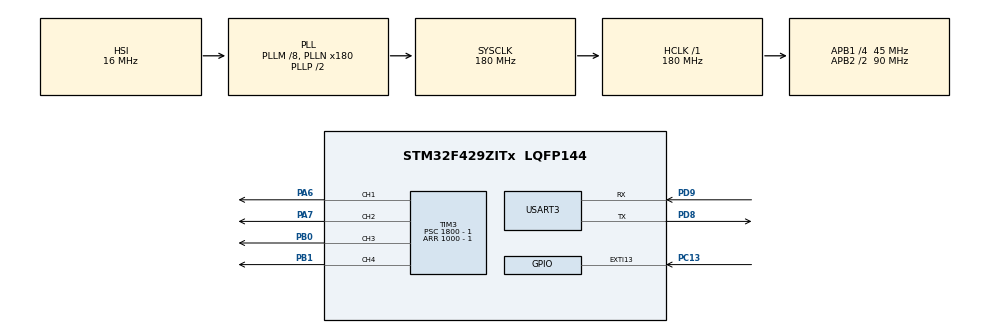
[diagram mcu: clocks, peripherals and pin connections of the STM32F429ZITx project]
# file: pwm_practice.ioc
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Mcu.Family=STM32F4
Mcu.Name=STM32F429ZITx
Mcu.Package=LQFP144
NVIC.PriorityGroup=NVIC_PRIORITYGROUP_4
NVIC.USART3_IRQn=true\:0\:0\:false\:true\:true\:1\:true\:true\:true
PA13.Mode=Serial_Wire
PA13.Signal=SYS_JTMS-SWDIO
PA14.Mode=Serial_Wire
PA14.Signal=SYS_JTCK-SWCLK
PA6.Signal=S_TIM3_CH1
PA7.Signal=S_TIM3_CH2
PB0.Signal=S_TIM3_CH3
PB1.Signal=S_TIM3_CH4
PC13.Signal=GPXTI13
PC14/OSC32_IN.Mode=LSE-External-Oscillator
PC14/OSC32_IN.Signal=RCC_OSC32_IN
PC15/OSC32_OUT.Mode=LSE-External-Oscillator
PC15/OSC32_OUT.Signal=RCC_OSC32_OUT
PD8.Mode=Asynchronous
PD8.Signal=USART3_TX
PD9.Mode=Asynchronous
PD9.Signal=USART3_RX
ProjectManager.HeapSize=0x200
ProjectManager.StackSize=0x400
ProjectManager.TargetToolchain=STM32CubeIDE
RCC.48MHZClocksFreq_Value=90000000
RCC.AHBFreq_Value=180000000
RCC.APB1CLKDivider=RCC_HCLK_DIV4
RCC.APB1Freq_Value=45000000
RCC.APB1TimFreq_Value=90000000
RCC.APB2CLKDivider=RCC_HCLK_DIV2
RCC.APB2Freq_Value=90000000
RCC.APB2TimFreq_Value=180000000
RCC.CortexFreq_Value=180000000
RCC.HCLKFreq_Value=180000000
RCC.HSE_VALUE=25000000
RCC.HSI_VALUE=16000000
RCC.PLLM=8
RCC.PLLN=180
RCC.RCC_RTC_Clock_Source=RCC_RTCCLKSOURCE_LSE
RCC.RCC_RTC_Clock_SourceVirtual=RCC_RTCCLKSOURCE_LSE
RCC.SYSCLKFreq_VALUE=180000000
RCC.SYSCLKSource=RCC_SYSCLKSOURCE_PLLCLK
RCC.VCOOutputFreq_Value=360000000
SH.S_TIM3_CH1.0=TIM3_CH1,PWM Generation1 CH1
SH.S_TIM3_CH2.0=TIM3_CH2,PWM Generation2 CH2
SH.S_TIM3_CH3.0=TIM3_CH3,PWM Generation3 CH3
SH.S_TIM3_CH4.0=TIM3_CH4,PWM Generation4 CH4
TIM3.Channel-PWM\ Generation1\ CH1=TIM_CHANNEL_1
TIM3.Channel-PWM\ Generation2\ CH2=TIM_CHANNEL_2
TIM3.Channel-PWM\ Generation3\ CH3=TIM_CHANNEL_3
TIM3.Channel-PWM\ Generation4\ CH4=TIM_CHANNEL_4
TIM3.CounterMode=TIM_COUNTERMODE_DOWN
TIM3.Period=1000 - 1
TIM3.Prescaler=1800 - 1
TIM3.Pulse-PWM\ Generation1\ CH1=750-1
TIM3.Pulse-PWM\ Generation2\ CH2=750-1
TIM3.Pulse-PWM\ Generation3\ CH3=375-1
TIM3.Pulse-PWM\ Generation4\ CH4=750-1
USART3.VirtualMode=VM_ASYNC
VP_RTC_VS_RTC_Activate.Mode=RTC_Enabled
VP_TIM3_VS_ClockSourceINT.Mode=Internal
board=custom

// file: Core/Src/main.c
/* USER CODE BEGIN Header */
/**
 ******************************************************************************
 * @file           : main.c
 * @brief          : Main program body
 ******************************************************************************
 * @attention
 *
 * Copyright (c) 2022 STMicroelectronics.
 * All rights reserved.
 *
 * This software is licensed under terms that can be found in the LICENSE file
 * in the root directory of this software component.
 * If no LICENSE file comes with this software, it is provided AS-IS.
 *
 ******************************************************************************
 */
/* USER CODE END Header */
#include "main.h"
#include "rtc.h"
#include "tim.h"
#include "usart.h"
#include "gpio.h"

/* USER CODE BEGIN Includes */
#include <string.h>
#include <stdlib.h>
/* USER CODE END Includes */

/* USER CODE BEGIN PTD */
typedef enum {

	UP = 1,
	DOWN = 0,
} _STROKE;

/* USER CODE END PTD */

/* USER CODE BEGIN PV */

// count 1ms interrupt

//=============syscallback value==================
volatile uint32_t count_systick;
volatile uint32_t count_systick_auto;
volatile uint8_t count_systick_1ms;
volatile uint8_t count_systick_2ms;
volatile uint8_t count_systick_5ms;
volatile uint8_t count_systick_10ms;
volatile uint8_t count_systick_100ms;
volatile uint8_t count_systick_1000ms;

//=============syscallback value==================

//=============uart value===========================
uint8_t rx;
uint8_t buf[10], buf_index = 0;
uint8_t buf_temp[10];
//=============uart value===========================

//=============== setting value =====================
volatile uint8_t flag_default_setting;
volatile uint8_t flag_up_apply;
volatile uint8_t flag_down_apply;
volatile uint8_t flag_set_handle;
volatile uint8_t flag_swing_handle;
volatile uint8_t flag_peak_handle;
//=============== setting value =====================

//============== auto_swing value ========================
volatile uint8_t flag_swing_mode;
volatile uint8_t flag_swing_auto;
uint32_t count_swing_trig;
uint32_t count_practice;
//============== auto_swing value ========================

//================swing value===============================
int num_set_up_yes = 104;
int num_set_up_no = 108;
int num_swing_up = 120;
int num_peak_up = 100;

int num_set_down_yes = 105;
int num_set_down_no = 108;
int num_swing_down = 120-32;
int num_peak_down = 100-30;

int num_set = 108;
int num_swing = 120;
int num_peak = 87;
//================swing value===============================

uint8_t swing_practice[10] = {1,4};
uint16_t swing_practice_time[10] = {500};

/* USER CODE END PV */

void SystemClock_Config(void);
static void MX_NVIC_Init(void);

/* USER CODE BEGIN 0 */
int __io_putchar(int ch) {
	HAL_UART_Transmit(&huart3, &ch, 1, 100);
	return ch;
}
/* USER CODE END 0 */

/**
  * @brief  The application entr+y point.
  * @retval int
  */
int main(void)
{

  /* MCU Configuration--------------------------------------------------------*/

  /* Reset of all peripherals, Initializes the Flash interface and the Systick. */

	HAL_Init();

  /* Configure the system clock */
  SystemClock_Config();

  /* Initialize all configured peripherals */
  MX_GPIO_Init();
  MX_RTC_Init();
  MX_TIM3_Init();
  MX_USART3_UART_Init();

  /* Initialize interrupts */
  MX_NVIC_Init();
  /* USER CODE BEGIN 2 */
	HAL_TIM_PWM_Start(&htim3, TIM_CHANNEL_1);
	HAL_TIM_PWM_Start(&htim3, TIM_CHANNEL_3);
	HAL_TIM_PWM_Start(&htim3, TIM_CHANNEL_4);
	HAL_UART_Receive_IT(&huart3, &rx, 1);
	TIM3->CCR3 = num_set;
	TIM3->CCR4 = num_swing;
	TIM3->CCR1 = num_peak;
  /* USER CODE END 2 */

  /* Infinite loop */
  /* USER CODE BEGIN WHILE */

	while (1) {

		// ========================================Setting mode===========================
		// set the default setting
		if (flag_default_setting == 1) {
			printf("\r\n세팅모드에 진입합니다.\r\n");
			printf("COMMAND\r\n");
			printf("1.NOT STROKE SETTING : 'O', 'P'\r\n");
			printf("2.YES STROKE SETTING : 'K', 'L'\r\n");
			printf("3.(HANDLE) BODY POS: 'W', 'S'\r\n");
			printf("4.(HANDLE) SWING POS: 'A', 'D'\r\n");
			printf("5.(HANDLE) PEAK POS: 'Q', 'E'\r\n");
			printf("5.END SETTING: 'X'\r\n");
			flag_default_setting = 2;
		}
		while (flag_default_setting == 2) {

			//no stroke setting
			if (flag_up_apply == 1) {
				num_set_up_no = num_set;
				num_swing_up = num_swing;
				num_peak_up = num_peak;
				printf("\r\n");
				printf("num_set_up_no : %d\r\n", num_set_up_no);
				printf("num_swing_up : %d\r\n", num_swing_up);
				printf("num_peak_up : %d\r\n", num_peak_up);
				flag_up_apply = 0;
			}
			if (flag_down_apply == 1) {
				if (num_set_down_no   == num_set_up_no   &&
					num_swing_down == num_swing_up &&
					num_peak_down  == num_peak_up) {

					num_set_down_no = 108;
					num_swing_down = 120 - 32;
					num_peak_down = 100 - 30;

				}
				else {
					num_set_down_no = num_set;
					num_swing_down = num_swing;
					num_peak_down = num_peak;
				}

				printf("\r\n");
				printf("num_set_down : %d\r\n", num_set_down_no);
				printf("num_swing_down : %d\r\n", num_swing_down);
				printf("num_peak_down : %d\r\n", num_peak_down);
				flag_down_apply = 0;
			}

			// yes stroke setting
			if (flag_up_apply == 2) {
				num_set_up_yes = num_set;
				printf("\r\n");
				printf("num_set_up_yes : %d\r\n", num_set_up_yes);
				flag_up_apply = 0;
			}
			if (flag_down_apply == 2) {
				num_set_down_yes = num_set;
				printf("\r\n");
				printf("num_set_down_yes : %d\r\n", num_set_down_yes);
				flag_down_apply = 0;
			}

				// set up & down
				if (flag_set_handle == 1) {
					num_set++;
					flag_set_handle = 0;
					printf("num_set : %d\r\n", num_set);
				} else if (flag_set_handle == 2) {
					num_set--;
					flag_set_handle = 0;
					printf("num_set : %d\r\n", num_set);
				}

				// swing up & down
				if (flag_swing_handle == 1) {
					num_swing++;
					flag_swing_handle = 0;
					printf("num_swing : %d\r\n", num_swing);
				} else if (flag_swing_handle == 2) {
					num_swing--;
					flag_swing_handle = 0;
					printf("num_swing : %d\r\n", num_swing);
				}

				// peak up & down
				if (flag_peak_handle == 1) {
					num_peak++;
					flag_peak_handle = 0;
					printf("num_peak : %d\r\n", num_peak);
				} else if (flag_peak_handle == 2) {
					num_peak--;
					flag_peak_handle = 0;
					printf("num_peak : %d\r\n", num_peak);
				}

			// user can see immediately the status of the machine
			if (count_systick_100ms == 1) {
				TIM3->CCR3 = num_set;
				TIM3->CCR4 = num_swing;
				TIM3->CCR1 = num_peak;
				count_systick_100ms = 0;
			}

			if (flag_default_setting == 0) {
				printf("\r\n세팅모드를 종료합니다.\r\n");
			}
		}
		// ========================================Setting mode===========================

		// ========================================Swing mode===========================
		// this struct is maded for user can know the swing mode begin
		// 'num_swing' control everything in this Algorithm
		if (flag_swing_mode == 1) {
			flag_swing_mode = 2;
			printf("\r\n스윙모드에 진입합니다.\r\n");
			printf("COMMAND\r\n");
			printf("1.YES SWING  : '0', '1'\r\n");
			printf("2.NOT SWING  : '2', '3'\r\n");
			printf("5.END SWING: 'X'\r\n");

			num_swing = num_swing_up;
			TIM3->CCR4 = num_swing;
			TIM3->CCR3 = num_set;
			TIM3->CCR1 = num_peak;
		}

		while (flag_swing_mode == 2) {

			// Read the set and peak pos and automatically change the pos by swing pos
			if (flag_swing_auto == 0) {
				if (num_swing >= num_swing_up) {
					TIM3->CCR3 = num_set_up_no;
					TIM3->CCR1 = num_peak_up;
				} else if (num_swing <= num_swing_down) {
					TIM3->CCR3 = num_set_down_no;
					TIM3->CCR1 = num_peak_down;
				}
			}
			// read swing ary----------------------------------------------------------------
			flag_swing_auto = swing_practice[count_swing_trig];

			if (swing_practice_time[0] == count_practice) {
				if (count_swing_trig == 0) {
					count_swing_trig = 1;
				}
				else {
					count_swing_trig = 0;
				}

			}

			if (swing_practice_time[0] <= count_practice) {
				count_practice = 0;
			}
			// read swing ary----------------------------------------------------------------

			// do swing
			// YES down swing(up -> down)
			if (flag_swing_auto == 1) {
				TIM3->CCR3 = num_set_up_yes;

				if (count_systick_auto % 1000 > 125) {
					if (count_systick_2ms == 1 && num_swing > num_swing_down) {

						num_swing--;
						TIM3->CCR4 = num_swing;
						count_systick_2ms = 0;
					}
				}

				if (count_systick_auto % 1000 > 250) {
					flag_swing_auto = 0;
					count_systick_auto = 0;
				}
			}

			// YES up swing (down -> up)
			else if (flag_swing_auto == 2) {
				TIM3->CCR3 = num_set_down_yes;

				if (count_systick_auto % 1000 > 125) {
					if (count_systick_2ms == 1 && num_swing < num_swing_up) {

						num_swing++;
						TIM3->CCR4 = num_swing;
						count_systick_2ms = 0;
					}
				}

				if (count_systick_auto % 1000 > 250) {
					flag_swing_auto = 0;
					count_systick_auto = 0;
				}
			}

			// NO down swing(up -> down)
			if (flag_swing_auto == 3) {
				TIM3->CCR3 = num_set_up_no;
				if (count_systick_auto % 1000 > 125) {
					if (count_systick_2ms == 1 && num_swing > num_swing_down) {

						num_swing--;
						TIM3->CCR4 = num_swing;
						count_systick_2ms = 0;
					}
				}
				if (count_systick_auto % 1000 > 250) {
					flag_swing_auto = 0;
					count_systick_auto = 0;
				}
			}

			// NO up swing (down -> up)
			else if (flag_swing_auto == 4) {
				TIM3->CCR3 = num_set_down_no;
				if (count_systick_auto % 1000 > 125) {
					if (count_systick_2ms == 1 && num_swing < num_swing_up) {

						num_swing++;
						TIM3->CCR4 = num_swing;
						count_systick_2ms = 0;
					}
				}
				if (count_systick_auto % 1000 > 250) {
					flag_swing_auto = 0;
					count_systick_auto = 0;
				}
			}

			if (flag_swing_mode == 0) {
				printf("\r\n스윙모드를 종료합니다.\r\n");
			}
		}
		// ========================================Swing mode===========================

	}
    /* USER CODE END WHILE */

    /* USER CODE BEGIN 3 */
	num_set_up_no = 108;
	num_swing_up = 120;
	num_peak_up = 87;

	TIM3->CCR3 = num_set_up_no;
	TIM3->CCR4 = num_swing_up;
	TIM3->CCR1 = num_peak_up;
  /* USER CODE END 3 */
}

void SystemClock_Config(void)
{
  RCC_OscInitTypeDef RCC_OscInitStruct = {0};
  RCC_ClkInitTypeDef RCC_ClkInitStruct = {0};

  /** Configure the main internal regulator output voltage
  */
  __HAL_RCC_PWR_CLK_ENABLE();
  __HAL_PWR_VOLTAGESCALING_CONFIG(PWR_REGULATOR_VOLTAGE_SCALE1);

  /** Initializes the RCC Oscillators according to the specified parameters
  * in the RCC_OscInitTypeDef structure.
  */
  RCC_OscInitStruct.OscillatorType = RCC_OSCILLATORTYPE_HSI|RCC_OSCILLATORTYPE_LSE;
  RCC_OscInitStruct.LSEState = RCC_LSE_ON;
  RCC_OscInitStruct.HSIState = RCC_HSI_ON;
  RCC_OscInitStruct.HSICalibrationValue = RCC_HSICALIBRATION_DEFAULT;
  RCC_OscInitStruct.PLL.PLLState = RCC_PLL_ON;
  RCC_OscInitStruct.PLL.PLLSource = RCC_PLLSOURCE_HSI;
  RCC_OscInitStruct.PLL.PLLM = 8;
  RCC_OscInitStruct.PLL.PLLN = 180;
  RCC_OscInitStruct.PLL.PLLP = RCC_PLLP_DIV2;
  RCC_OscInitStruct.PLL.PLLQ = 4;
  if (HAL_RCC_OscConfig(&RCC_OscInitStruct) != HAL_OK)
  {
    Error_Handler();
  }

  /** Activate the Over-Drive mode
  */
  if (HAL_PWREx_EnableOverDrive() != HAL_OK)
  {
    Error_Handler();
  }

  /** Initializes the CPU, AHB and APB buses clocks
  */
  RCC_ClkInitStruct.ClockType = RCC_CLOCKTYPE_HCLK|RCC_CLOCKTYPE_SYSCLK
                              |RCC_CLOCKTYPE_PCLK1|RCC_CLOCKTYPE_PCLK2;
  RCC_ClkInitStruct.SYSCLKSource = RCC_SYSCLKSOURCE_PLLCLK;
  RCC_ClkInitStruct.AHBCLKDivider = RCC_SYSCLK_DIV1;
  RCC_ClkInitStruct.APB1CLKDivider = RCC_HCLK_DIV4;
  RCC_ClkInitStruct.APB2CLKDivider = RCC_HCLK_DIV2;

  if (HAL_RCC_ClockConfig(&RCC_ClkInitStruct, FLASH_LATENCY_5) != HAL_OK)
  {
    Error_Handler();
  }
}

/**
  * @brief NVIC Configuration.
  * @retval None
  */
static void MX_NVIC_Init(void)
{
  /* USART3_IRQn interrupt configuration */
  HAL_NVIC_SetPriority(USART3_IRQn, 0, 0);
  HAL_NVIC_EnableIRQ(USART3_IRQn);
}

/* USER CODE BEGIN 4 */
void HAL_UART_RxCpltCallback(UART_HandleTypeDef *huart)
{
	if(huart -> Instance == USART3) {
		HAL_UART_Transmit(&huart3, &rx, 1, 100);

		if (rx == '\n') {
			buf[buf_index] = 0;
			if (buf[0] == '`') {
				flag_default_setting = 1;
			}
			if (buf[0] == '~') {
				flag_swing_mode = 1;
			}

			if (flag_default_setting == 2) {
				/*
				volatile uint8_t flag_up_apply;
				volatile uint8_t flag_down_apply;
				volatile uint8_t flag_set_handle;
				volatile uint8_t flag_swing_handle;
				volatile uint8_t flag_peak_handle;
				*/

				//no setting
				if (buf[0] == 'o' || buf[0] == 'O') {
					flag_up_apply = 1;
				}
				if (buf[0] == 'p' || buf[0] == 'P') {
					flag_down_apply = 1;
				}

				//yes setting
				if (buf[0] == 'k' || buf[0] == 'K') {
					flag_up_apply = 2;
				}
				if (buf[0] == 'l' || buf[0] == 'l') {
					flag_down_apply = 2;
				}

				// set pos
				if (buf[0] == 'w' || buf[0] == 'W') {
					flag_set_handle = 1;
				}
				if (buf[0] == 's' || buf[0] == 'S') {
					flag_set_handle = 2;
				}

				// swing pos
				if (buf[0] == 'a' || buf[0] == 'A') {
					flag_swing_handle = 1;
				}
				if (buf[0] == 'd' || buf[0] == 'D') {
					flag_swing_handle = 2;
				}

				//peak pos
				if (buf[0] == 'q' || buf[0] == 'Q') {
					flag_peak_handle = 1;
				}
				if (buf[0] == 'e' || buf[0] == 'E') {
					flag_peak_handle = 2;
				}

				// end setting
				if (buf[0] == 'x' || buf[0] == 'X') {
					flag_default_setting = 0;
				}
			}

			//swing handle
			if (flag_swing_mode == 2) {

				// yes swing
				if (buf[0] == '0') {
					flag_swing_auto = 1;
				}
				if (buf[0] == '1') {
					flag_swing_auto = 2;
				}

				// no swing
				if (buf[0] == '2') {
					flag_swing_auto = 3;
				}
				if (buf[0] == '3') {
					flag_swing_auto = 4;
				}

				// start auto stroke swing ary
				if (buf[0] == '4') {
					flag_swing_auto = 5;
				}

				//end swing handle
				if (buf[0] == 'x' || buf[0] == 'X') {
					flag_swing_mode = 0;
				}
			}

			memset(buf, 0, sizeof(buf));
			buf_index = 0;
		}
		else {
			buf[buf_index++] = rx;
		}
		HAL_UART_Receive_IT(&huart3, &rx, 1);
	}
}
void HAL_SYSTICK_Callback(void) {
	/*	volatile uint8_t count_systick_1ms;
	 volatile uint8_t count_systick_2ms;
	 volatile uint8_t count_systick_5ms;
	 volatile uint8_t count_systick_10ms;
	 volatile uint8_t count_systick_100ms;
	 volatile uint8_t count_systick_1000ms;*/

	count_systick++;
	count_systick_1ms = 1;
	if (count_systick % 2 == 0) {
		count_systick_2ms = 1;
	}
	if (count_systick % 5 == 0) {
		count_systick_5ms = 1;
	}
	if (count_systick % 10 == 0) {
		count_systick_10ms = 1;
	}
	if (count_systick % 100 == 0) {
		count_systick_100ms = 1;
	}
	if (count_systick % 1000 == 0) {
		count_systick_1000ms = 1;
	}

	//yes swing out flag
	if (flag_swing_auto == 1) {
		count_systick_auto++;
	}
	if (flag_swing_auto == 2) {
		count_systick_auto++;
	}
	//no swing out flag
	if (flag_swing_auto == 3) {
		count_systick_auto++;
	}
	if (flag_swing_auto == 4) {
		count_systick_auto++;
	}
//	uint32_t count_swing_trig;
//	uint32_t count_practice;
	if (count_swing_trig == 0) {
		count_practice++;

	}
	if (count_swing_trig == 1) {
		count_practice++;
	}

}
/* USER CODE END 4 */

void Error_Handler(void)
{
	__disable_irq();
	while (1) {
	}
}
